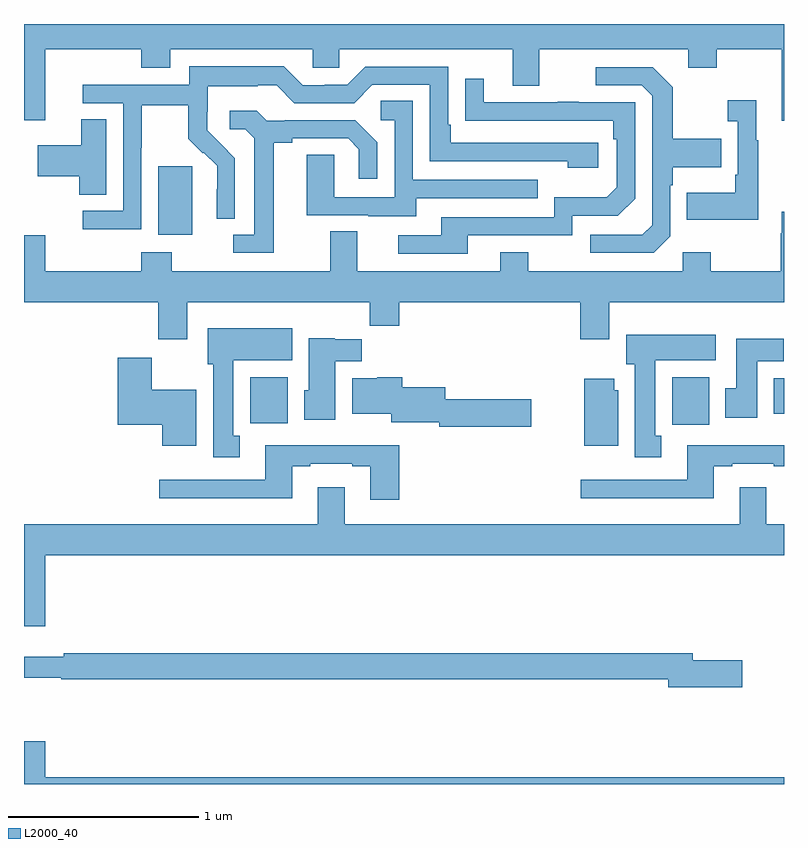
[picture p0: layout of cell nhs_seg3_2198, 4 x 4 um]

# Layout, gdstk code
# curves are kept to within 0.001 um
import gdstk
lib = gdstk.Library(unit=1e-6, precision=1e-09)
def R(c, l, rs):  # rectangles x0, y0, x1, y1
    for r in rs: c.add(gdstk.rectangle(r[:2], r[2:], *l))
def P(c, l, *ps):  # polygons
    for p in ps: c.add(gdstk.Polygon(p, *l))
L2000_40 = (2000, 40)

nhs_seg3_2198 = lib.new_cell('nhs_seg3_2198')
R(nhs_seg3_2198, L2000_40, [(228.411,680.292,228.607,680.542), (226.19,680.3,226.387,680.542), (228.947,680.348,229,680.536), (225.707,681.29,225.886,681.651)])
P(nhs_seg3_2198, L2000_40, [(229,682.4),(225,682.4),(225,681.894),(225.112,681.894),(225.112,682.268),(225.617,682.268),(225.617,682.169),(225.769,682.169),(225.769,682.268),(226.521,682.268),(226.521,682.17),(226.659,682.17),(226.659,682.268),(227.573,682.268),(227.573,682.074),(227.713,682.074),(227.713,682.268),(228.497,682.268),(228.497,682.169),(228.645,682.169),(228.645,682.268),(228.989,682.268),(228.989,681.891),(229,681.891)],
  [(225.618,681.748),(225.621,681.748),(225.621,681.972),(225.865,681.972),(225.865,681.797),(225.942,681.72),(225.945,681.723),(226.016,681.653),(226.016,681.53),(226.014,681.53),(226.014,681.376),(226.11,681.376),(226.11,681.694),(225.964,681.842),(225.964,681.939),(225.966,681.939),(225.966,682.073),(226.229,682.073),(226.229,682.077),(226.329,682.077),(226.422,681.984),(226.737,681.984),(226.833,682.08),(227.136,682.08),(227.136,681.678),(227.861,681.678),(227.861,681.644),(228.022,681.644),(228.022,681.774),(227.245,681.774),(227.245,681.871),(227.232,681.871),(227.232,682.176),(226.797,682.176),(226.701,682.08),(226.583,682.08),(226.583,682.077),(226.467,682.077),(226.367,682.177),(225.87,682.177),(225.87,682.08),(225.309,682.08),(225.309,681.984),(225.522,681.984),(225.522,681.417),(225.309,681.417),(225.309,681.319),(225.618,681.319)],
  [(228.402,681.282),(228.402,681.551),(228.415,681.551),(228.415,681.647),(228.671,681.647),(228.671,681.795),(228.415,681.795),(228.415,682.067),(228.309,682.173),(228.009,682.173),(228.009,682.077),(228.252,682.077),(228.306,682.023),(228.306,681.342),(228.255,681.291),(227.979,681.291),(227.979,681.195),(228.315,681.195)],
  [(227.335,681.288),(227.886,681.288),(227.886,681.39),(228.126,681.39),(228.216,681.48),(228.216,681.987),(227.921,681.987),(227.921,681.992),(227.809,681.992),(227.809,681.987),(227.419,681.987),(227.419,682.111),(227.323,682.111),(227.323,681.892),(228.1,681.891),(228.1,681.794),(228.12,681.794),(228.12,681.54),(228.067,681.487),(227.79,681.487),(227.79,681.384),(227.195,681.384),(227.195,681.288),(226.971,681.288),(226.971,681.192),(227.335,681.192)],
  [(228.865,681.787),(228.853,681.787),(228.853,682),(228.705,682),(228.705,681.887),(228.756,681.887),(228.756,681.607),(228.744,681.607),(228.744,681.511),(228.487,681.511),(228.487,681.371),(228.865,681.371)],
  [(227.065,681.483),(227.705,681.483),(227.705,681.579),(227.046,681.579),(227.046,681.995),(226.878,681.995),(226.878,681.894),(226.95,681.894),(226.95,681.489),(226.632,681.489),(226.632,681.713),(226.487,681.713),(226.487,681.393),(226.811,681.393),(226.811,681.389),(227.065,681.389)],
  [(226.315,681.776),(226.411,681.776),(226.411,681.798),(226.706,681.798),(226.763,681.741),(226.763,681.585),(226.86,681.585),(226.86,681.778),(226.744,681.894),(226.372,681.894),(226.372,681.891),(226.278,681.891),(226.226,681.943),(226.083,681.943),(226.083,681.846),(226.164,681.846),(226.211,681.799),(226.211,681.291),(226.101,681.291),(226.101,681.195),(226.315,681.195)],
  [(225.433,681.899),(225.302,681.899),(225.302,681.763),(225.072,681.763),(225.072,681.598),(225.29,681.598),(225.29,681.502),(225.433,681.502)],
  [(225.859,680.936),(226.819,680.936),(226.819,680.812),(226.976,680.812),(226.976,680.936),(227.927,680.936),(227.927,680.742),(228.079,680.742),(228.079,680.936),(229,680.936),(229,681.412),(228.989,681.412),(228.989,681.299),(228.982,681.299),(228.982,681.1),(228.615,681.1),(228.615,681.199),(228.468,681.199),(228.468,681.1),(227.655,681.1),(227.655,681.199),(227.507,681.199),(227.507,681.1),(226.753,681.1),(226.753,681.308),(226.613,681.308),(226.613,681.1),(225.777,681.1),(225.777,681.199),(225.617,681.199),(225.617,681.1),(225.112,681.1),(225.112,681.289),(225,681.289),(225,680.936),(225.707,680.936),(225.707,680.742),(225.859,680.742)],
  [(226.135,680.234),(226.102,680.234),(226.102,680.63),(226.411,680.63),(226.411,680.8),(225.968,680.8),(225.968,680.61),(225.995,680.61),(225.995,680.121),(226.135,680.121)],
  [(228.355,680.233),(228.322,680.233),(228.322,680.63),(228.64,680.63),(228.64,680.764),(228.17,680.764),(228.17,680.61),(228.215,680.61),(228.215,680.121),(228.355,680.121)],
  [(226.639,680.624),(226.778,680.624),(226.778,680.742),(226.635,680.742),(226.635,680.746),(226.499,680.746),(226.499,680.472),(226.475,680.472),(226.475,680.318),(226.639,680.318)],
  [(228.859,680.624),(228.998,680.624),(228.998,680.743),(228.749,680.743),(228.749,680.484),(228.692,680.484),(228.692,680.328),(228.859,680.328)],
  [(225.907,680.476),(225.672,680.476),(225.672,680.644),(225.494,680.644),(225.494,680.291),(225.728,680.291),(225.728,680.18),(225.907,680.18)],
  [(227.671,680.426),(227.218,680.426),(227.218,680.488),(226.991,680.488),(226.991,680.542),(226.86,680.542),(226.86,680.536),(226.727,680.536),(226.727,680.348),(226.934,680.348),(226.934,680.303),(227.186,680.303),(227.186,680.279),(227.671,680.279)],
  [(228.127,680.472),(228.106,680.472),(228.106,680.533),(227.948,680.533),(227.948,680.18),(228.127,680.18)],
  [(228.631,680.073),(228.727,680.073),(228.727,680.085),(228.947,680.085),(228.947,680.073),(229,680.073),(229,680.182),(228.491,680.182),(228.491,680.001),(227.931,680.001),(227.931,679.904),(228.631,679.904)],
  [(226.976,680.182),(226.271,680.182),(226.271,680.001),(225.711,680.001),(225.711,679.904),(226.411,679.904),(226.411,680.073),(226.507,680.073),(226.507,680.085),(226.727,680.085),(226.727,680.073),(226.823,680.073),(226.823,679.896),(226.976,679.896)],
  [(225.112,679.604),(229,679.604),(229,679.768),(228.907,679.768),(228.907,679.963),(228.767,679.963),(228.767,679.768),(226.687,679.768),(226.687,679.963),(226.547,679.963),(226.547,679.768),(225,679.768),(225,679.23),(225.112,679.23)],
  [(228.781,679.052),(228.52,679.052),(228.52,679.088),(225.208,679.088),(225.208,679.069),(225,679.069),(225,678.96),(225.196,678.96),(225.196,678.952),(228.392,678.952),(228.392,678.91),(228.781,678.91)],
  [(229,678.436),(225.112,678.436),(225.112,678.625),(225,678.625),(225,678.4),(229,678.4)])

lib.write_gds('nhs_seg3_2198.gds')
